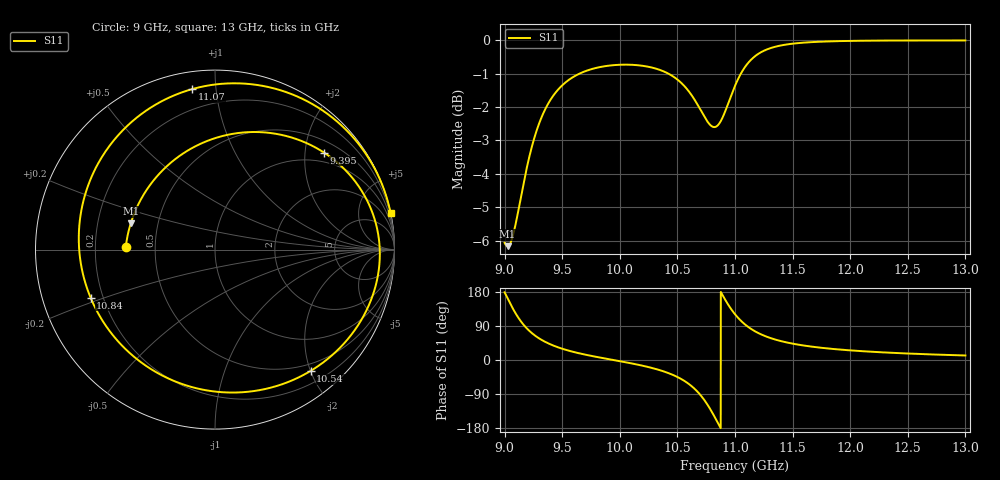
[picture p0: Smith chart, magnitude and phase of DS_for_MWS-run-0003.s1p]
! TOUCHSTONE file generated by CST DESIGN STUDIO
! Date and time: Tue Feb  4 14:07:44 2025
! Project name: C:\Work\MatlabApps\UnitCellOptimizationMatlab\CST\unitcell.cst
! Tree item: Tasks\Sweep1\SPara1\S-Parameters
! Header version: 2024
! Port assignment regex: !\s*Touchstone port\s*([0-9]+)\s*=\s*(CST MWS port|CST DES external port|CST DES block port)\s*(.+)\s* \(\"(.*)\"\)(\s*mode\s*([0-9]+))?.*
! Touchstone port assignment:
! Touchstone port 1 = CST DES external port 1 ("")
# GHz S MA R 50
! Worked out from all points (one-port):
!   4001 points, 9 GHz to 13 GHz, reference 50 ohm
!   lowest |S11| = -6.2 dB at 9.026 GHz (marker M1), VSWR 2.93, Z = 17.4 + j6.72 ohm
!   |S11| at or under -10 dB: nowhere
!   S11 on the Smith chart (normalised r, x): 9 GHz: 0.34, +0.01; 9.395 GHz: 0.76, +2.42; 10.54 GHz: 0.38, -2.00; 10.84 GHz: 0.15, -0.18; 11.07 GHz: 0.09, +0.86; 13 GHz: 0.02, +9.59
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9  0.4975 178.5
9.026  0.4917 162.7
9.104  0.5392 118.8
9.179  0.6281 87.9
9.286  0.7395 59.7
9.395  0.8129 41.7
9.5  0.8562 29.8
9.715  0.9009 13.2
10  0.9192 -3.1
10.3  0.9084 -22.7
10.5  0.8735 -44.8
10.542  0.8606 -51.7
10.631  0.8239 -71.0
10.717  0.7777 -98.9
10.778  0.749 -126.1
10.839  0.7431 -158.9
10.875  0.756 -179.3
10.911  0.7798 161.0
10.957  0.8184 138.5
11  0.8548 120.7
11.07  0.903 98.2
11.158  0.9418 78.5
11.252  0.9649 64.3
11.363  0.9795 52.8
11.5  0.9885 43.2
12  0.998 25.4
12.5  0.9995 17.1
13  0.9996 11.9
